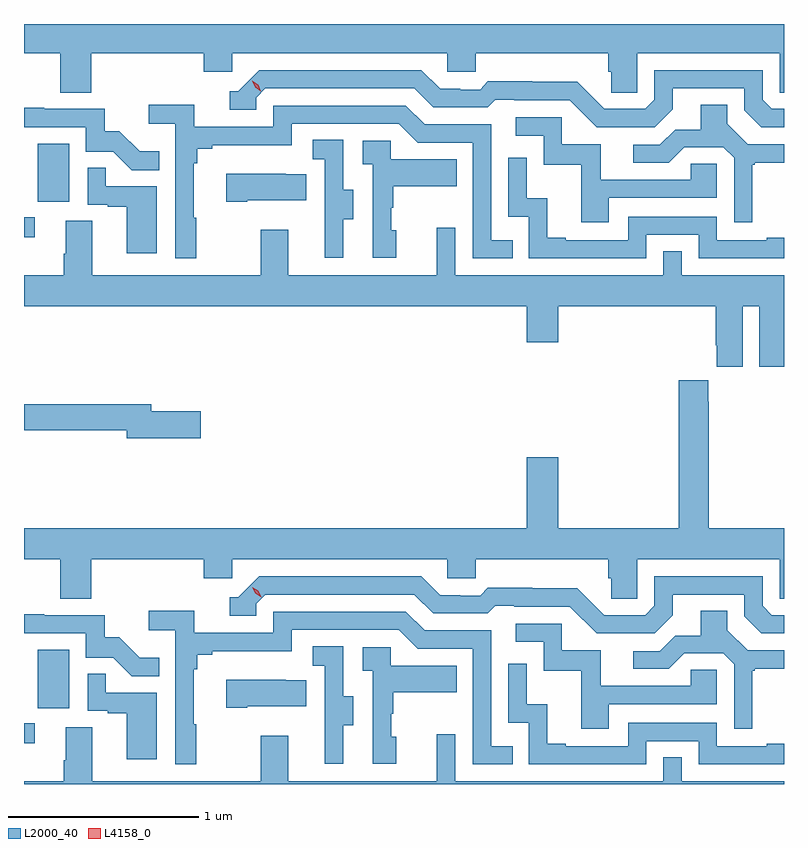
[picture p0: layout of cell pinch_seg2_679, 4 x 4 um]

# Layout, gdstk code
import gdstk
lib = gdstk.Library(unit=1e-6, precision=1e-09)
def R(c, l, rs):  # rectangles x0, y0, x1, y1
    for r in rs: c.add(gdstk.rectangle(r[:2], r[2:], *l))
def P(c, l, *ps):  # polygons
    for p in ps: c.add(gdstk.Polygon(p, *l))
L2000_40 = (2000, 40)
L4158_0 = (4158, 0)

pinch_seg2_679 = lib.new_cell('pinch_seg2_679')
R(pinch_seg2_679, L2000_40, [(1097.425,596.052,1097.482,596.157), (1097.498,596.238,1097.662,596.545), (1097.425,598.716,1097.482,598.821), (1097.498,598.902,1097.662,599.209)])
P(pinch_seg2_679, L2000_40, [(1097.78,599.684),(1098.371,599.684),(1098.371,599.586),(1098.522,599.586),(1098.522,599.684),(1099.653,599.684),(1099.653,599.586),(1099.803,599.586),(1099.803,599.684),(1100.501,599.684),(1100.501,599.586),(1100.515,599.586),(1100.515,599.476),(1100.652,599.476),(1100.652,599.684),(1101.402,599.684),(1101.402,599.476),(1101.425,599.476),(1101.425,599.838),(1097.425,599.838),(1097.425,599.684),(1097.615,599.684),(1097.615,599.476),(1097.78,599.476)],
  [(1100.839,599.389),(1100.839,599.499),(1101.216,599.499),(1101.216,599.385),(1101.306,599.295),(1101.425,599.295),(1101.425,599.391),(1101.36,599.391),(1101.312,599.439),(1101.312,599.595),(1100.742,599.595),(1100.742,599.439),(1100.694,599.391),(1100.478,599.391),(1100.336,599.533),(1100.1,599.533),(1100.1,599.536),(1099.867,599.536),(1099.825,599.493),(1099.722,599.493),(1099.722,599.496),(1099.615,599.496),(1099.516,599.595),(1098.663,599.595),(1098.552,599.484),(1098.509,599.484),(1098.509,599.388),(1098.648,599.388),(1098.648,599.451),(1098.696,599.499),(1099.479,599.499),(1099.578,599.4),(1099.867,599.4),(1099.906,599.439),(1100.005,599.439),(1100.005,599.436),(1100.298,599.436),(1100.439,599.295),(1100.745,599.295)],
  [(1098.331,598.817),(1098.319,598.817),(1098.319,599.105),(1098.338,599.105),(1098.338,599.182),(1098.415,599.182),(1098.415,599.201),(1098.834,599.201),(1098.834,599.313),(1099.398,599.313),(1099.497,599.214),(1099.788,599.214),(1099.788,598.605),(1099.997,598.605),(1099.997,598.701),(1099.884,598.701),(1099.884,599.31),(1099.534,599.31),(1099.435,599.409),(1098.738,599.409),(1098.738,599.298),(1098.32,599.298),(1098.32,599.414),(1098.081,599.414),(1098.081,599.312),(1098.222,599.312),(1098.222,598.605),(1098.331,598.605)],
  [(1101.259,599.097),(1101.271,599.097),(1101.271,599.108),(1101.425,599.108),(1101.425,599.205),(1101.234,599.205),(1101.127,599.312),(1101.127,599.414),(1100.987,599.414),(1100.987,599.282),(1100.852,599.282),(1100.772,599.202),(1100.631,599.202),(1100.631,599.109),(1100.818,599.109),(1100.899,599.19),(1101.105,599.19),(1101.162,599.133),(1101.162,598.794),(1101.259,598.794)],
  [(1098.137,599.167),(1098.033,599.167),(1097.926,599.274),(1097.85,599.274),(1097.85,599.391),(1097.531,599.391),(1097.531,599.396),(1097.425,599.396),(1097.425,599.295),(1097.751,599.295),(1097.751,599.166),(1097.895,599.166),(1097.993,599.068),(1098.137,599.068)],
  [(1100.503,598.923),(1101.072,598.923),(1101.072,599.103),(1100.935,599.103),(1100.935,599.019),(1100.461,599.019),(1100.461,599.205),(1100.256,599.205),(1100.256,599.346),(1100.013,599.346),(1100.013,599.25),(1100.16,599.25),(1100.16,599.097),(1100.359,599.097),(1100.359,598.794),(1100.503,598.794)],
  [(1099.105,598.81),(1099.159,598.81),(1099.159,598.965),(1099.104,598.965),(1099.104,599.228),(1098.945,599.228),(1098.945,599.125),(1099.008,599.125),(1099.008,598.821),(1099.007,598.821),(1099.007,598.608),(1099.105,598.608)],
  [(1099.384,598.752),(1099.359,598.752),(1099.359,598.871),(1099.369,598.871),(1099.369,598.985),(1099.703,598.985),(1099.703,599.125),(1099.356,599.125),(1099.356,599.223),(1099.209,599.223),(1099.209,599.099),(1099.26,599.099),(1099.26,598.608),(1099.384,598.608)],
  [(1100.7,598.728),(1100.976,598.728),(1100.976,598.605),(1101.425,598.605),(1101.425,598.714),(1101.335,598.714),(1101.335,598.701),(1101.072,598.701),(1101.072,598.824),(1100.604,598.824),(1100.604,598.701),(1100.275,598.701),(1100.275,598.714),(1100.18,598.714),(1100.18,598.922),(1100.07,598.922),(1100.07,599.134),(1099.974,599.134),(1099.974,598.824),(1100.082,598.824),(1100.082,598.605),(1100.7,598.605)],
  [(1098.124,598.983),(1097.855,598.983),(1097.855,599.081),(1097.76,599.081),(1097.76,598.887),(1097.867,598.887),(1097.867,598.875),(1097.966,598.875),(1097.966,598.632),(1098.124,598.632)],
  [(1098.601,598.91),(1098.911,598.91),(1098.911,599.047),(1098.803,599.047),(1098.803,599.05),(1098.489,599.05),(1098.489,598.903),(1098.601,598.903)],
  [(1101.208,598.352),(1101.296,598.352),(1101.296,598.035),(1101.425,598.035),(1101.425,598.516),(1100.886,598.516),(1100.886,598.643),(1100.79,598.643),(1100.79,598.516),(1099.695,598.516),(1099.695,598.765),(1099.598,598.765),(1099.598,598.516),(1098.817,598.516),(1098.817,598.756),(1098.67,598.756),(1098.67,598.516),(1097.785,598.516),(1097.785,598.802),(1097.645,598.802),(1097.645,598.628),(1097.633,598.628),(1097.633,598.516),(1097.425,598.516),(1097.425,598.352),(1100.072,598.352),(1100.072,598.164),(1100.236,598.164),(1100.236,598.352),(1101.065,598.352),(1101.065,598.147),(1101.071,598.147),(1101.071,598.035),(1101.208,598.035)],
  [(1097.78,597.02),(1098.371,597.02),(1098.371,596.922),(1098.522,596.922),(1098.522,597.02),(1099.653,597.02),(1099.653,596.922),(1099.803,596.922),(1099.803,597.02),(1100.501,597.02),(1100.501,596.922),(1100.515,596.922),(1100.515,596.812),(1100.652,596.812),(1100.652,597.02),(1101.402,597.02),(1101.402,596.812),(1101.425,596.812),(1101.425,597.184),(1101.03,597.184),(1101.03,597.851),(1101.025,597.851),(1101.025,597.964),(1100.87,597.964),(1100.87,597.184),(1100.236,597.184),(1100.236,597.559),(1100.072,597.559),(1100.072,597.184),(1097.425,597.184),(1097.425,597.02),(1097.615,597.02),(1097.615,596.812),(1097.78,596.812)],
  [(1098.355,597.8),(1098.094,597.8),(1098.094,597.836),(1097.425,597.836),(1097.425,597.7),(1097.966,597.7),(1097.966,597.658),(1098.355,597.658)],
  [(1100.839,596.725),(1100.839,596.835),(1101.216,596.835),(1101.216,596.721),(1101.306,596.631),(1101.425,596.631),(1101.425,596.727),(1101.36,596.727),(1101.312,596.775),(1101.312,596.931),(1100.742,596.931),(1100.742,596.775),(1100.694,596.727),(1100.478,596.727),(1100.336,596.869),(1100.1,596.869),(1100.1,596.872),(1099.867,596.872),(1099.825,596.829),(1099.722,596.829),(1099.722,596.832),(1099.615,596.832),(1099.516,596.931),(1098.663,596.931),(1098.552,596.82),(1098.509,596.82),(1098.509,596.724),(1098.648,596.724),(1098.648,596.787),(1098.696,596.835),(1099.479,596.835),(1099.578,596.736),(1099.867,596.736),(1099.906,596.775),(1100.005,596.775),(1100.005,596.772),(1100.298,596.772),(1100.439,596.631),(1100.745,596.631)],
  [(1101.259,596.433),(1101.271,596.433),(1101.271,596.444),(1101.425,596.444),(1101.425,596.541),(1101.234,596.541),(1101.127,596.648),(1101.127,596.75),(1100.987,596.75),(1100.987,596.618),(1100.852,596.618),(1100.772,596.538),(1100.631,596.538),(1100.631,596.445),(1100.818,596.445),(1100.899,596.526),(1101.105,596.526),(1101.162,596.469),(1101.162,596.13),(1101.259,596.13)],
  [(1098.331,596.153),(1098.319,596.153),(1098.319,596.441),(1098.338,596.441),(1098.338,596.518),(1098.415,596.518),(1098.415,596.537),(1098.834,596.537),(1098.834,596.649),(1099.398,596.649),(1099.497,596.55),(1099.788,596.55),(1099.788,595.941),(1099.997,595.941),(1099.997,596.037),(1099.884,596.037),(1099.884,596.646),(1099.534,596.646),(1099.435,596.745),(1098.738,596.745),(1098.738,596.634),(1098.32,596.634),(1098.32,596.75),(1098.081,596.75),(1098.081,596.648),(1098.222,596.648),(1098.222,595.941),(1098.331,595.941)],
  [(1098.137,596.503),(1098.033,596.503),(1097.926,596.61),(1097.85,596.61),(1097.85,596.727),(1097.531,596.727),(1097.531,596.732),(1097.425,596.732),(1097.425,596.631),(1097.751,596.631),(1097.751,596.502),(1097.895,596.502),(1097.993,596.404),(1098.137,596.404)],
  [(1100.503,596.259),(1101.072,596.259),(1101.072,596.439),(1100.935,596.439),(1100.935,596.355),(1100.461,596.355),(1100.461,596.541),(1100.256,596.541),(1100.256,596.682),(1100.013,596.682),(1100.013,596.586),(1100.16,596.586),(1100.16,596.433),(1100.359,596.433),(1100.359,596.13),(1100.503,596.13)],
  [(1099.105,596.146),(1099.159,596.146),(1099.159,596.301),(1099.104,596.301),(1099.104,596.564),(1098.945,596.564),(1098.945,596.461),(1099.008,596.461),(1099.008,596.157),(1099.007,596.157),(1099.007,595.944),(1099.105,595.944)],
  [(1099.384,596.088),(1099.359,596.088),(1099.359,596.207),(1099.369,596.207),(1099.369,596.321),(1099.703,596.321),(1099.703,596.461),(1099.356,596.461),(1099.356,596.559),(1099.209,596.559),(1099.209,596.435),(1099.26,596.435),(1099.26,595.944),(1099.384,595.944)],
  [(1100.7,596.064),(1100.976,596.064),(1100.976,595.941),(1101.425,595.941),(1101.425,596.05),(1101.335,596.05),(1101.335,596.037),(1101.072,596.037),(1101.072,596.16),(1100.604,596.16),(1100.604,596.037),(1100.275,596.037),(1100.275,596.05),(1100.18,596.05),(1100.18,596.258),(1100.07,596.258),(1100.07,596.47),(1099.974,596.47),(1099.974,596.16),(1100.082,596.16),(1100.082,595.941),(1100.7,595.941)],
  [(1098.124,596.319),(1097.855,596.319),(1097.855,596.417),(1097.76,596.417),(1097.76,596.223),(1097.867,596.223),(1097.867,596.211),(1097.966,596.211),(1097.966,595.968),(1098.124,595.968)],
  [(1098.601,596.246),(1098.911,596.246),(1098.911,596.383),(1098.803,596.383),(1098.803,596.386),(1098.489,596.386),(1098.489,596.239),(1098.601,596.239)],
  [(1099.695,596.101),(1099.598,596.101),(1099.598,595.852),(1098.817,595.852),(1098.817,596.092),(1098.67,596.092),(1098.67,595.852),(1097.785,595.852),(1097.785,596.138),(1097.645,596.138),(1097.645,595.964),(1097.633,595.964),(1097.633,595.852),(1097.425,595.852),(1097.425,595.838),(1101.425,595.838),(1101.425,595.852),(1100.886,595.852),(1100.886,595.979),(1100.79,595.979),(1100.79,595.852),(1099.695,595.852)])
P(pinch_seg2_679, L4158_0, [(1098.673,596.822),(1098.642,596.841),(1098.626,596.874),(1098.626,596.874),(1098.626,596.874),(1098.657,596.855),(1098.674,596.822),(1098.674,596.822)],
  [(1098.672,599.485),(1098.642,599.505),(1098.626,599.538),(1098.626,599.539),(1098.627,599.539),(1098.657,599.518),(1098.672,599.485),(1098.672,599.485)])

lib.write_gds('pinch_seg2_679.gds')
